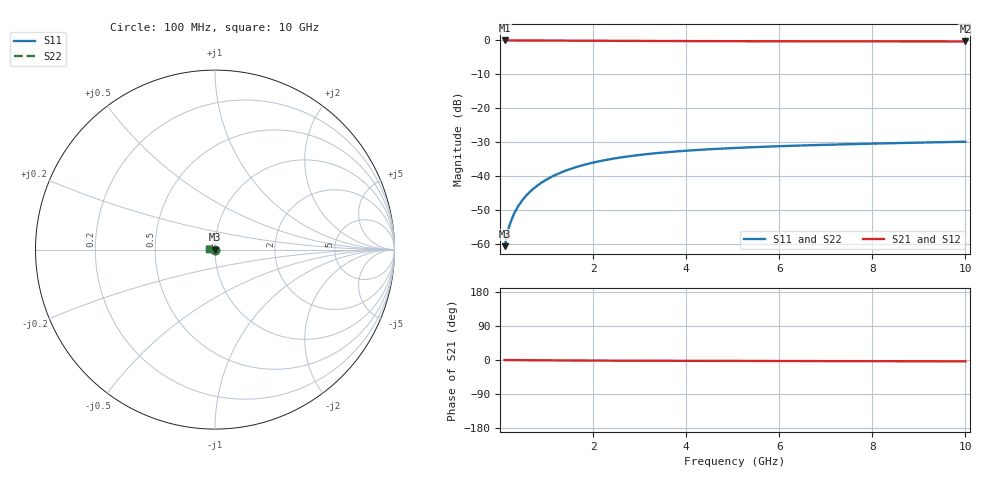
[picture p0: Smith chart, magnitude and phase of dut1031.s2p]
! Touchstone file exported from HFSS 2024.1.0
!  File:  C:/UserFiles/LocalFiles/RDL_TSV_Batchsim/temp_TSV1_1031_1780060791.aedt
!  Generated:  09:26:44 PM May 29, 2026
!  Design:  TSV1
!  Project:  temp_TSV1_1031_1780060791
!  Setup:  Setup1
!  Solution:  Sweep
! Variables:
!  dtsv = 12.73um
!  hbump = 3um
!  htsv = 50.27um
!  lrdl = 252.1521522um
!  p = 40
!  p1 = 58.5um
!  t = 500um
!  trdl = 3um
!  wrdl = 24.89489489um
# GHz S MA R 50.000000
! Terminal data exported
! Port[1] = TSV22_T1
! Port[2] = TSV22_T2
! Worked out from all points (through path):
!   100 points, 100 MHz to 10 GHz, reference 50 ohm
!   highest |S21| = 0.00 dB at 100 MHz (marker M1); lowest = -0.3 dB at 10 GHz (marker M2)
!   lowest |S11| = -60.7 dB at 100 MHz (marker M3), VSWR 1.00, Z = 50 - j0.092 ohm
!   |S11| at or under -10 dB: start of sweep to end of sweep
!   |S22| runs from -60.7 to -29.9 dB; largest |S21 - S12| = 9.1e-15
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0.1  0.0009202 -87.8  0.9999 -0.1  0.9999 -0.1  0.0009202 -87.8
! Gamma 0 0 0 0
! Port Impedance 50 0 50 0
0.2  0.001837 -91.8  0.9998 -0.2  0.9998 -0.2  0.001837 -91.8
0.3  0.002753 -94.5  0.9996 -0.3  0.9996 -0.3  0.002753 -94.5
0.4  0.003664 -96.9  0.9994 -0.4  0.9994 -0.4  0.003664 -96.9
0.5  0.004565 -99.1  0.9991 -0.5  0.9991 -0.5  0.004565 -99.1
0.6  0.005455 -101.3  0.9987 -0.5  0.9987 -0.5  0.005455 -101.3
0.7  0.00633 -103.4  0.9983 -0.6  0.9983 -0.6  0.00633 -103.4
0.8  0.007187 -105.4  0.9978 -0.7  0.9978 -0.7  0.007187 -105.4
0.9  0.008025 -107.5  0.9973 -0.8  0.9973 -0.8  0.008025 -107.5
1.1  0.009639 -111.4  0.9962 -0.9  0.9962 -0.9  0.009639 -111.4
1.4  0.01189 -116.9  0.9944 -1.1  0.9944 -1.1  0.01189 -116.9
1.6  0.01327 -120.4  0.993 -1.3  0.993 -1.3  0.01327 -120.4
1.8  0.01455 -123.7  0.9917 -1.4  0.9917 -1.4  0.01455 -123.7
2.1  0.01629 -128.4  0.9896 -1.5  0.9896 -1.5  0.01629 -128.4
2.5  0.01831 -134.1  0.987 -1.7  0.987 -1.7  0.01831 -134.1
2.9  0.02003 -139.3  0.9845 -1.9  0.9845 -1.9  0.02003 -139.3
3.4  0.02182 -145.0  0.9818 -2.0  0.9818 -2.0  0.02182 -145.0
4.2  0.02408 -152.9  0.9782 -2.2  0.9782 -2.2  0.02408 -152.9
5.1  0.02599 -160.3  0.9751 -2.4  0.9751 -2.4  0.02599 -160.3
6.7  0.02846 -171.0  0.9712 -2.8  0.9712 -2.8  0.02846 -171.0
8.4  0.03044 180.0  0.9685 -3.2  0.9685 -3.2  0.03044 180.0
10  0.03203 172.9  0.9669 -3.6  0.9669 -3.6  0.03203 172.9
